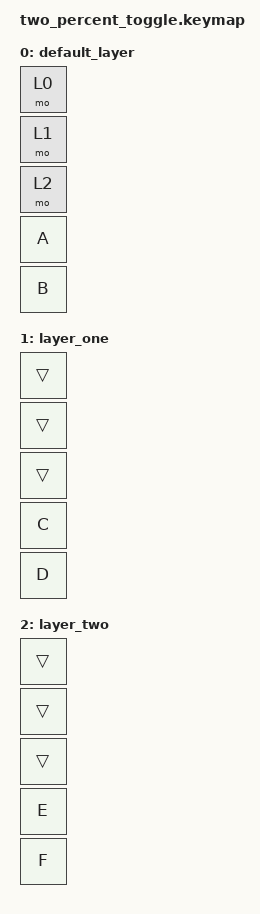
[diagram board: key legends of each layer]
/*
 * Copyright (c) 2022 The ZMK Contributors
 *
 * SPDX-License-Identifier: MIT
 */

 #include <behaviors.dtsi>
 #include <dt-bindings/zmk/keys.h>
 #include <dt-bindings/zmk/bt.h>
 #include <dt-bindings/zmk/outputs.h>
 
 / {
    keymap {
        compatible = "zmk,keymap";
 
        default_layer {
            bindings = <
                &mo 0
                &mo 1
                &mo 2

                &kp A
                &kp B
            >;
        };

        layer_one {
            bindings = <
                &trans
                &trans
                &trans

                &kp C
                &kp D
            >;
        };

        layer_two {
            bindings = <
                &trans
                &trans
                &trans

                &kp E
                &kp F
            >;
        };
    };
};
